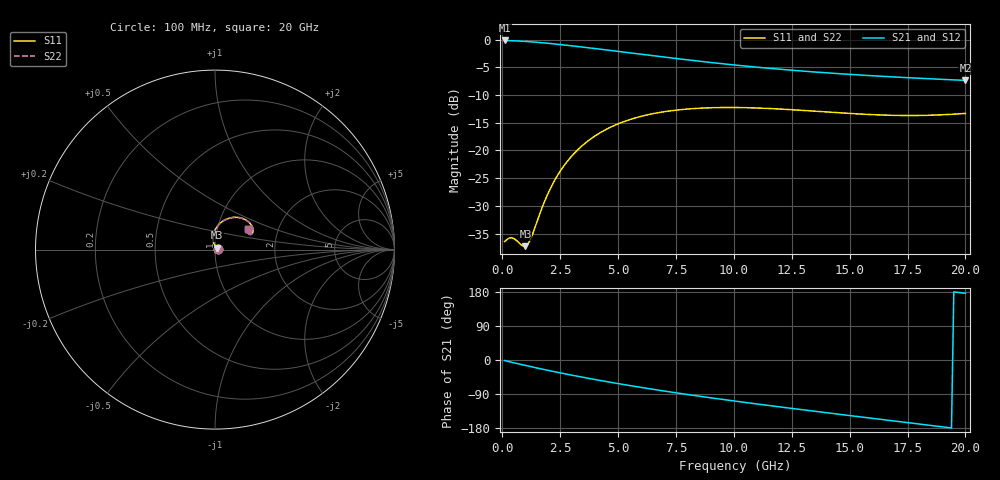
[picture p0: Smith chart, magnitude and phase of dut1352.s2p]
! Touchstone file exported from HFSS 2024.1.0
!  File:  C:/UserFiles/LocalFiles/RDL_TSV_Batchsim/temp_RDL_TSV_1352_1780394553.aedt
!  Generated:  06:17:29 PM Jun  2, 2026
!  Design:  RDL_TSV
!  Project:  temp_RDL_TSV_1352_1780394553
!  Setup:  Setup1
!  Solution:  Sweep
! Variables:
!  dtsv = 8.1um
!  hbump = 3um
!  htsv = 58.24um
!  ldown = 672.76um
!  lrdl = 212.43um
!  p = 40
!  p1 = 40.28um
!  rhole = 10um
!  subl = 2868um
!  t = 450um
!  tdown = 3.18um
!  trdl = 2.99um
!  viad = 10um
!  wdown = 23.96um
!  wrdl = 22.47um
!  xbump = 18um
# GHz S MA R 50.000000
! Terminal data exported
! Port[1] = TM1_1_T1
! Port[2] = TM1_4_T1
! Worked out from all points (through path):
!   200 points, 100 MHz to 20 GHz, reference 50 ohm
!   highest |S21| = -0.13 dB at 100 MHz (marker M1); lowest = -7.3 dB at 20 GHz (marker M2)
!   group delay of S21, straight-line fit = 24.4 ps
!   lowest |S11| = -37.3 dB at 1 GHz (marker M3), VSWR 1.03, Z = 50.8 + j1.09 ohm
!   |S11| at or under -10 dB: start of sweep to end of sweep
!   |S22| runs from -37.3 to -12.2 dB; largest |S21 - S12| = 9.8e-15
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0.1  0.01503 6.6  0.9848 -1.5  0.9848 -1.5  0.01503 6.6
! Gamma 0 0 0 0
! Port Impedance 50 0 50 0
0.4  0.0163 16.3  0.9799 -5.9  0.9799 -5.9  0.01631 16.3
0.9  0.0137 41.7  0.9683 -13.0  0.9683 -13.0  0.0137 41.6
1  0.01367 51.5  0.9654 -14.3  0.9654 -14.3  0.01367 51.4
1.1  0.01423 61.9  0.9623 -15.7  0.9623 -15.7  0.01422 61.8
1.2  0.01547 71.8  0.959 -17.1  0.959 -17.1  0.01545 71.7
1.8  0.03364 99.6  0.936 -25.1  0.936 -25.1  0.0336 99.6
2.3  0.05556 100.8  0.9139 -31.5  0.9139 -31.5  0.0555 100.8
2.9  0.08424 95.8  0.8857 -38.8  0.8857 -38.8  0.08416 95.8
3.5  0.1127 89.0  0.8568 -45.8  0.8568 -45.8  0.1127 89.0
4.2  0.1435 80.7  0.823 -53.7  0.823 -53.7  0.1435 80.7
4.9  0.1704 72.7  0.7897 -61.2  0.7897 -61.2  0.1703 72.7
5.8  0.1983 63.4  0.7484 -70.4  0.7484 -70.4  0.1982 63.4
6.8  0.2206 54.3  0.7052 -80.1  0.7052 -80.1  0.2206 54.3
8.4  0.24 42.4  0.6436 -94.6  0.6436 -94.6  0.24 42.4
10.1  0.2442 33.1  0.5892 -108.9  0.5892 -108.9  0.2442 33.0
11.7  0.2384 27.1  0.5479 -121.6  0.5479 -121.6  0.2383 27.0
13.4  0.227 23.6  0.5129 -134.6  0.5129 -134.6  0.2269 23.6
15  0.2159 23.0  0.4864 -146.6  0.4864 -146.6  0.2157 23.0
16.7  0.208 24.9  0.4636 -159.3  0.4636 -159.3  0.2078 24.9
18.3  0.2076 28.1  0.4456 -171.2  0.4456 -171.2  0.2074 28.1
20  0.216 31.7  0.4291 176.1  0.4291 176.1  0.2158 31.7
